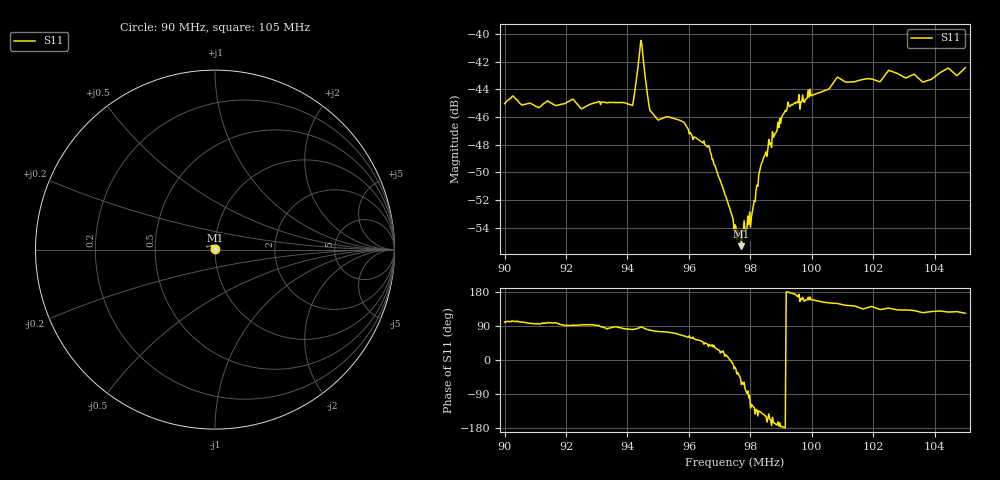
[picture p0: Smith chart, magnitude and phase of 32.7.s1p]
# HZ S RI R 50
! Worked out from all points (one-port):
!   505 points, 90 MHz to 105 MHz, reference 50 ohm
!   lowest |S11| = -55.3 dB at 97.71 MHz (marker M1), VSWR 1.00, Z = 50.1 - j0.155 ohm
!   |S11| at or under -10 dB: start of sweep to end of sweep
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9e7  -0.000964 0.00552
9.026786e7  -0.00132 0.00582
9.107143e7  -0.0005 0.00541
9.187501e7  -0.000266 0.00557
9.375001e7  0.000454 0.00563
9.416668e7  0.000914 0.00543
9.443454e7  0.000461 0.00945
9.449406e7  0.000651 0.00847
9.467263e7  0.00104 0.0057
9.479168e7  0.00108 0.00508
9.562502e7  0.00177 0.00458
9.666669e7  0.00294 0.00256
9.750002e7  0.00193 -0.000677
9.770836e7  0.000731 -0.00155
9.80655e7  -0.00116 -0.00196
9.842265e7  -0.00285 -0.00213
9.907741e7  -0.00513 -0.000225
9.937503e7  -0.00552 0.000492
1.00506e8  -0.0055 0.00303
1.008334e8  -0.00599 0.00358
1.0125e8  -0.00539 0.004
1.022024e8  -0.00463 0.00486
1.025298e8  -0.00534 0.00507
1.03125e8  -0.00464 0.00521
1.036608e8  -0.00388 0.00548
1.044048e8  -0.00449 0.00599
1.047322e8  -0.00431 0.00561
1.05e8  -0.00413 0.00632
